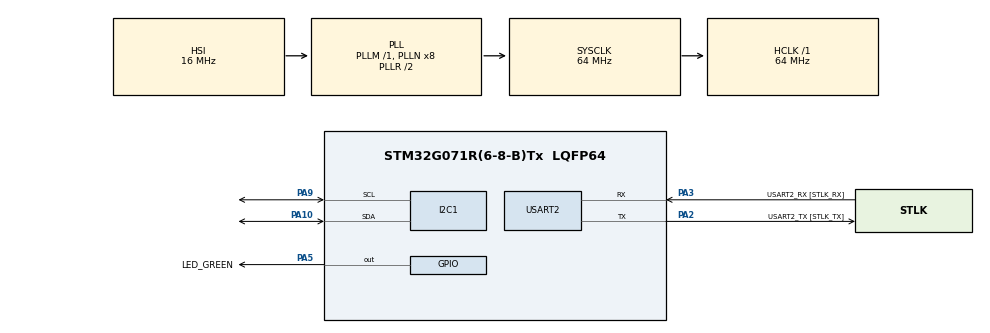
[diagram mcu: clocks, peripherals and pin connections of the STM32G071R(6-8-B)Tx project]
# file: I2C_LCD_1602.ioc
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I2C1.Timing=0x10B17DB5
Mcu.Family=STM32G0
Mcu.Name=STM32G071R(6-8-B)Tx
Mcu.Package=LQFP64
PA10.Mode=I2C
PA10.Signal=I2C1_SDA
PA13.GPIO_Label=TMS
PA13.Mode=Serial_Wire
PA13.Signal=SYS_SWDIO
PA14-BOOT0.GPIO_Label=TCK
PA14-BOOT0.Mode=Serial_Wire
PA14-BOOT0.Signal=SYS_SWCLK
PA2.GPIO_Label=USART2_TX [STLK_TX]
PA2.GPIO_PuPd=GPIO_PULLUP
PA2.Mode=Asynchronous
PA2.Signal=USART2_TX
PA3.GPIO_Label=USART2_RX [STLK_RX]
PA3.GPIO_PuPd=GPIO_PULLUP
PA3.Mode=Asynchronous
PA3.Signal=USART2_RX
PA5.GPIO_Label=LED_GREEN
PA5.GPIO_Speed=GPIO_SPEED_FREQ_HIGH
PA5.Signal=GPIO_Output
PA9.Mode=I2C
PA9.Signal=I2C1_SCL
PC13.Mode=SYS_WakeUp1
PC13.Signal=SYS_WKUP2
PC14-OSC32_IN\ (PC14).Mode=LSE-External-Oscillator
PC14-OSC32_IN\ (PC14).Signal=RCC_OSC32_IN
PC15-OSC32_OUT\ (PC15).Mode=LSE-External-Oscillator
PC15-OSC32_OUT\ (PC15).Signal=RCC_OSC32_OUT
PF0-OSC_IN\ (PF0).GPIO_Label=MCO
PF0-OSC_IN\ (PF0).Mode=HSE-External-Oscillator
PF0-OSC_IN\ (PF0).Signal=RCC_OSC_IN
PF1-OSC_OUT\ (PF1).Mode=HSE-External-Oscillator
PF1-OSC_OUT\ (PF1).Signal=RCC_OSC_OUT
ProjectManager.HeapSize=0x200
ProjectManager.StackSize=0x400
ProjectManager.TargetToolchain=STM32CubeIDE
RCC.ADCFreq_Value=64000000
RCC.AHBFreq_Value=64000000
RCC.CortexFreq_Value=64000000
RCC.EXTERNAL_CLOCK_VALUE=12288000
RCC.HCLKFreq_Value=64000000
RCC.HSE_VALUE=8000000
RCC.HSI_VALUE=16000000
RCC.RTCClockSelection=RCC_RTCCLKSOURCE_LSE
RCC.SYSCLKFreq_VALUE=64000000
RCC.SYSCLKSource=RCC_SYSCLKSOURCE_PLLCLK
RCC.VCOOutputFreq_Value=128000000
RTC.Hours=12
RTC.Minutes=20
USART2.VirtualMode-Asynchronous=VM_ASYNC
VP_RTC_VS_RTC_Activate.Mode=RTC_Enabled
VP_RTC_VS_RTC_Calendar.Mode=RTC_Calendar
board=NUCLEO-G071RB

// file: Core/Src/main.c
/* USER CODE BEGIN Header */
/**
  ******************************************************************************
  * @file           : main.c
  * @brief          : Main program body
  ******************************************************************************
  * @attention
  *
  * Copyright (c) 2026 STMicroelectronics.
  * All rights reserved.
  *
  * This software is licensed under terms that can be found in the LICENSE file
  * in the root directory of this software component.
  * If no LICENSE file comes with this software, it is provided AS-IS.
  *
  ******************************************************************************
  */
/* USER CODE END Header */
#include "main.h"

/* USER CODE BEGIN Includes */
#include "I2C_LCD.h"
#include "stdio.h"
/* USER CODE END Includes */

/* USER CODE BEGIN PD */
#define lcd_1 I2C_LCD_1
/* USER CODE END PD */

I2C_HandleTypeDef hi2c1;

RTC_HandleTypeDef hrtc;

UART_HandleTypeDef huart2;

/* USER CODE BEGIN PV */
RTC_TimeTypeDef sTime;
RTC_TimeTypeDef sDate;

volatile int flag=0;

uint8_t Hours=0;
uint8_t Minutes=0;
uint8_t Seconds=0;

char Time[30]={'\0'};

/* USER CODE END PV */

void SystemClock_Config(void);
static void MX_GPIO_Init(void);
static void MX_USART2_UART_Init(void);
static void MX_I2C1_Init(void);
static void MX_RTC_Init(void);

int main(void)
{

  /* MCU Configuration--------------------------------------------------------*/

  /* Reset of all peripherals, Initializes the Flash interface and the Systick. */
  HAL_Init();

  /* Configure the system clock */
  SystemClock_Config();

  /* Initialize all configured peripherals */
  MX_GPIO_Init();
  MX_USART2_UART_Init();
  MX_I2C1_Init();
  MX_RTC_Init();
  /* USER CODE BEGIN 2 */
I2C_LCD_Init(lcd_1);
I2C_LCD_SetCursor(lcd_1,0,0);
I2C_LCD_WriteString(lcd_1,"Real time clock");

  /* USER CODE END 2 */

  /* Infinite loop */
  /* USER CODE BEGIN WHILE */
  while (1)
  {

	  I2C_LCD_SetCursor(lcd_1,0,1);

	  HAL_RTC_GetDate(&hrtc, &sDate, RTC_FORMAT_BIN);
	  HAL_RTC_GetTime(&hrtc, &sTime, RTC_FORMAT_BIN);
	  Hours=sTime.Hours;
	  Minutes=sTime.Minutes;
	  Seconds=sTime.Seconds;
	  sprintf(Time,"%02d:%02d:%02d",Hours,Minutes,Seconds);
	  I2C_LCD_WriteString(lcd_1,Time);

    /* USER CODE END WHILE */

  }
}

void SystemClock_Config(void)
{
  RCC_OscInitTypeDef RCC_OscInitStruct = {0};
  RCC_ClkInitTypeDef RCC_ClkInitStruct = {0};

  /** Configure the main internal regulator output voltage
  */
  HAL_PWREx_ControlVoltageScaling(PWR_REGULATOR_VOLTAGE_SCALE1);

  /** Configure LSE Drive Capability
  */
  HAL_PWR_EnableBkUpAccess();
  __HAL_RCC_LSEDRIVE_CONFIG(RCC_LSEDRIVE_LOW);

  /** Initializes the RCC Oscillators according to the specified parameters
  * in the RCC_OscInitTypeDef structure.
  */
  RCC_OscInitStruct.OscillatorType = RCC_OSCILLATORTYPE_HSI|RCC_OSCILLATORTYPE_LSE;
  RCC_OscInitStruct.LSEState = RCC_LSE_ON;
  RCC_OscInitStruct.HSIState = RCC_HSI_ON;
  RCC_OscInitStruct.HSIDiv = RCC_HSI_DIV1;
  RCC_OscInitStruct.HSICalibrationValue = RCC_HSICALIBRATION_DEFAULT;
  RCC_OscInitStruct.PLL.PLLState = RCC_PLL_ON;
  RCC_OscInitStruct.PLL.PLLSource = RCC_PLLSOURCE_HSI;
  RCC_OscInitStruct.PLL.PLLM = RCC_PLLM_DIV1;
  RCC_OscInitStruct.PLL.PLLN = 8;
  RCC_OscInitStruct.PLL.PLLP = RCC_PLLP_DIV2;
  RCC_OscInitStruct.PLL.PLLQ = RCC_PLLQ_DIV2;
  RCC_OscInitStruct.PLL.PLLR = RCC_PLLR_DIV2;
  if (HAL_RCC_OscConfig(&RCC_OscInitStruct) != HAL_OK)
  {
    Error_Handler();
  }

  /** Initializes the CPU, AHB and APB buses clocks
  */
  RCC_ClkInitStruct.ClockType = RCC_CLOCKTYPE_HCLK|RCC_CLOCKTYPE_SYSCLK
                              |RCC_CLOCKTYPE_PCLK1;
  RCC_ClkInitStruct.SYSCLKSource = RCC_SYSCLKSOURCE_PLLCLK;
  RCC_ClkInitStruct.AHBCLKDivider = RCC_SYSCLK_DIV1;
  RCC_ClkInitStruct.APB1CLKDivider = RCC_HCLK_DIV1;

  if (HAL_RCC_ClockConfig(&RCC_ClkInitStruct, FLASH_LATENCY_2) != HAL_OK)
  {
    Error_Handler();
  }
}

static void MX_I2C1_Init(void)
{

  hi2c1.Instance = I2C1;
  hi2c1.Init.Timing = 0x10B17DB5;
  hi2c1.Init.OwnAddress1 = 0;
  hi2c1.Init.AddressingMode = I2C_ADDRESSINGMODE_7BIT;
  hi2c1.Init.DualAddressMode = I2C_DUALADDRESS_DISABLE;
  hi2c1.Init.OwnAddress2 = 0;
  hi2c1.Init.OwnAddress2Masks = I2C_OA2_NOMASK;
  hi2c1.Init.GeneralCallMode = I2C_GENERALCALL_DISABLE;
  hi2c1.Init.NoStretchMode = I2C_NOSTRETCH_DISABLE;
  if (HAL_I2C_Init(&hi2c1) != HAL_OK)
  {
    Error_Handler();
  }

  /** Configure Analogue filter
  */
  if (HAL_I2CEx_ConfigAnalogFilter(&hi2c1, I2C_ANALOGFILTER_ENABLE) != HAL_OK)
  {
    Error_Handler();
  }

  /** Configure Digital filter
  */
  if (HAL_I2CEx_ConfigDigitalFilter(&hi2c1, 0) != HAL_OK)
  {
    Error_Handler();
  }

}

static void MX_RTC_Init(void)
{

  RTC_TimeTypeDef sTime = {0};
  RTC_DateTypeDef sDate = {0};

  /** Initialize RTC Only
  */
  hrtc.Instance = RTC;
  hrtc.Init.HourFormat = RTC_HOURFORMAT_24;
  hrtc.Init.AsynchPrediv = 127;
  hrtc.Init.SynchPrediv = 255;
  hrtc.Init.OutPut = RTC_OUTPUT_DISABLE;
  hrtc.Init.OutPutRemap = RTC_OUTPUT_REMAP_NONE;
  hrtc.Init.OutPutPolarity = RTC_OUTPUT_POLARITY_HIGH;
  hrtc.Init.OutPutType = RTC_OUTPUT_TYPE_OPENDRAIN;
  hrtc.Init.OutPutPullUp = RTC_OUTPUT_PULLUP_NONE;
  if (HAL_RTC_Init(&hrtc) != HAL_OK)
  {
    Error_Handler();
  }

  /** Initialize RTC and set the Time and Date
  */
  sTime.Hours = 0x12;
  sTime.Minutes = 0x20;
  sTime.Seconds = 0x0;
  sTime.SubSeconds = 0x0;
  sTime.DayLightSaving = RTC_DAYLIGHTSAVING_NONE;
  sTime.StoreOperation = RTC_STOREOPERATION_RESET;
  if (HAL_RTC_SetTime(&hrtc, &sTime, RTC_FORMAT_BCD) != HAL_OK)
  {
    Error_Handler();
  }
  sDate.WeekDay = RTC_WEEKDAY_MONDAY;
  sDate.Month = RTC_MONTH_JANUARY;
  sDate.Date = 0x1;
  sDate.Year = 0x0;

  if (HAL_RTC_SetDate(&hrtc, &sDate, RTC_FORMAT_BCD) != HAL_OK)
  {
    Error_Handler();
  }

}

static void MX_USART2_UART_Init(void)
{

  huart2.Instance = USART2;
  huart2.Init.BaudRate = 115200;
  huart2.Init.WordLength = UART_WORDLENGTH_8B;
  huart2.Init.StopBits = UART_STOPBITS_1;
  huart2.Init.Parity = UART_PARITY_NONE;
  huart2.Init.Mode = UART_MODE_TX_RX;
  huart2.Init.HwFlowCtl = UART_HWCONTROL_NONE;
  huart2.Init.OverSampling = UART_OVERSAMPLING_16;
  huart2.Init.OneBitSampling = UART_ONE_BIT_SAMPLE_DISABLE;
  huart2.Init.ClockPrescaler = UART_PRESCALER_DIV1;
  huart2.AdvancedInit.AdvFeatureInit = UART_ADVFEATURE_NO_INIT;
  if (HAL_UART_Init(&huart2) != HAL_OK)
  {
    Error_Handler();
  }
  if (HAL_UARTEx_SetTxFifoThreshold(&huart2, UART_TXFIFO_THRESHOLD_1_8) != HAL_OK)
  {
    Error_Handler();
  }
  if (HAL_UARTEx_SetRxFifoThreshold(&huart2, UART_RXFIFO_THRESHOLD_1_8) != HAL_OK)
  {
    Error_Handler();
  }
  if (HAL_UARTEx_DisableFifoMode(&huart2) != HAL_OK)
  {
    Error_Handler();
  }

}

static void MX_GPIO_Init(void)
{
  GPIO_InitTypeDef GPIO_InitStruct = {0};

  /* GPIO Ports Clock Enable */
  __HAL_RCC_GPIOC_CLK_ENABLE();
  __HAL_RCC_GPIOF_CLK_ENABLE();
  __HAL_RCC_GPIOA_CLK_ENABLE();

  /*Configure GPIO pin Output Level */
  HAL_GPIO_WritePin(LED_GREEN_GPIO_Port, LED_GREEN_Pin, GPIO_PIN_RESET);

  /*Configure GPIO pin : LED_GREEN_Pin */
  GPIO_InitStruct.Pin = LED_GREEN_Pin;
  GPIO_InitStruct.Mode = GPIO_MODE_OUTPUT_PP;
  GPIO_InitStruct.Pull = GPIO_NOPULL;
  GPIO_InitStruct.Speed = GPIO_SPEED_FREQ_HIGH;
  HAL_GPIO_Init(LED_GREEN_GPIO_Port, &GPIO_InitStruct);

}

void Error_Handler(void)
{
  __disable_irq();
  while (1)
  {
  }
}
